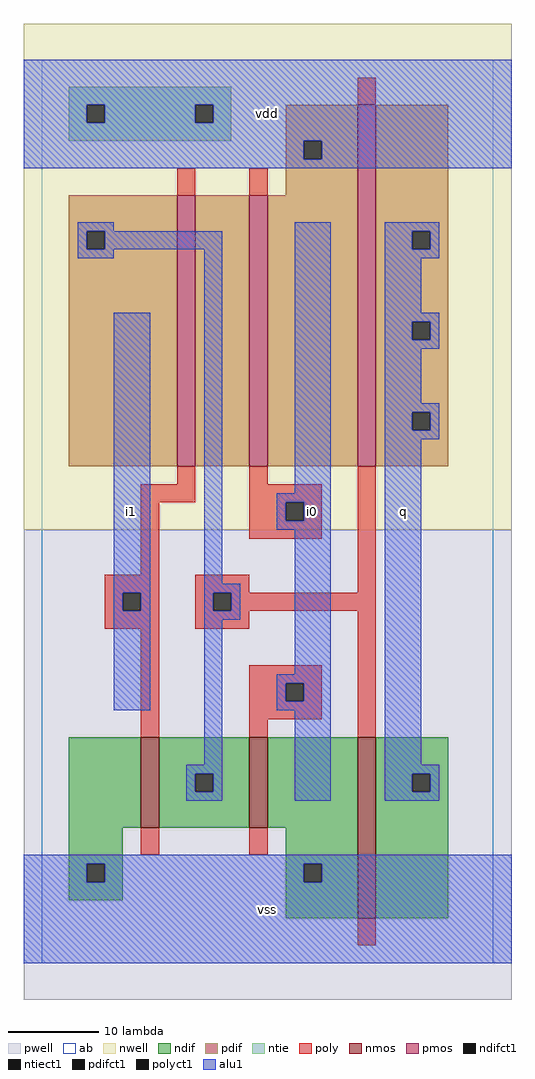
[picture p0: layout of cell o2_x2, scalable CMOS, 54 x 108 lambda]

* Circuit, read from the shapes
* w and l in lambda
.subckt o2_x2 i0 i1 q vdd vss
M1 n1 i1 vss VSUBS nfet w=10 l=2
M2 vss i0 n1 VSUBS nfet w=10 l=2
M3 q n1 vss VSUBS nfet w=20 l=2
M4 n2 i1 n1 vdd pfet w=30 l=2
M5 vdd i0 n2 vdd pfet w=30 l=2
M6 q n1 vdd vdd pfet w=40 l=2
.ends

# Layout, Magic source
magic
tech scmos
<< ab >>
rect 0 0 50 100
<< nwell >>
rect -2 48 52 104
<< pwell >>
rect -2 -4 52 48
<< poly >>
rect 35 95 37 98
rect 15 85 17 88
rect 23 85 25 88
rect 15 53 17 55
rect 11 51 17 53
rect 23 53 25 55
rect 23 51 31 53
rect 11 43 13 51
rect 23 49 27 51
rect 29 49 31 51
rect 23 47 31 49
rect 7 41 13 43
rect 7 39 9 41
rect 11 39 13 41
rect 7 37 13 39
rect 17 41 23 43
rect 35 41 37 55
rect 17 39 19 41
rect 21 39 37 41
rect 17 37 23 39
rect 11 25 13 37
rect 23 31 31 33
rect 23 29 27 31
rect 29 29 31 31
rect 23 27 31 29
rect 23 25 25 27
rect 35 25 37 39
rect 11 12 13 15
rect 23 12 25 15
rect 35 2 37 5
<< ndif >>
rect 3 15 11 25
rect 13 21 23 25
rect 13 19 17 21
rect 19 19 23 21
rect 13 15 23 19
rect 25 15 35 25
rect 3 11 9 15
rect 3 9 5 11
rect 7 9 9 11
rect 3 7 9 9
rect 27 11 35 15
rect 27 9 29 11
rect 31 9 35 11
rect 27 5 35 9
rect 37 21 45 25
rect 37 19 41 21
rect 43 19 45 21
rect 37 5 45 19
<< pdif >>
rect 27 91 35 95
rect 27 89 29 91
rect 31 89 35 91
rect 27 85 35 89
rect 3 81 15 85
rect 3 79 5 81
rect 7 79 15 81
rect 3 55 15 79
rect 17 55 23 85
rect 25 55 35 85
rect 37 81 45 95
rect 37 79 41 81
rect 43 79 45 81
rect 37 71 45 79
rect 37 69 41 71
rect 43 69 45 71
rect 37 61 45 69
rect 37 59 41 61
rect 43 59 45 61
rect 37 55 45 59
<< alu1 >>
rect -2 95 52 100
rect -2 93 5 95
rect 7 93 17 95
rect 19 93 52 95
rect -2 91 52 93
rect -2 89 29 91
rect 31 89 52 91
rect -2 88 52 89
rect 4 81 8 82
rect 4 79 5 81
rect 7 79 20 81
rect 4 78 8 79
rect 8 41 12 72
rect 8 39 9 41
rect 11 39 12 41
rect 8 28 12 39
rect 18 42 20 79
rect 28 52 32 82
rect 26 51 32 52
rect 26 49 27 51
rect 29 49 32 51
rect 26 48 32 49
rect 18 41 22 42
rect 18 39 19 41
rect 21 39 22 41
rect 18 38 22 39
rect 18 22 20 38
rect 28 32 32 48
rect 26 31 32 32
rect 26 29 27 31
rect 29 29 32 31
rect 26 28 32 29
rect 16 21 20 22
rect 16 19 17 21
rect 19 19 20 21
rect 16 18 20 19
rect 28 18 32 28
rect 38 81 44 82
rect 38 79 41 81
rect 43 79 44 81
rect 38 78 44 79
rect 38 72 42 78
rect 38 71 44 72
rect 38 69 41 71
rect 43 69 44 71
rect 38 68 44 69
rect 38 62 42 68
rect 38 61 44 62
rect 38 59 41 61
rect 43 59 44 61
rect 38 58 44 59
rect 38 22 42 58
rect 38 21 44 22
rect 38 19 41 21
rect 43 19 44 21
rect 38 18 44 19
rect -2 11 52 12
rect -2 9 5 11
rect 7 9 29 11
rect 31 9 52 11
rect -2 0 52 9
<< ntie >>
rect 3 95 21 97
rect 3 93 5 95
rect 7 93 17 95
rect 19 93 21 95
rect 3 91 21 93
<< nmos >>
rect 11 15 13 25
rect 23 15 25 25
rect 35 5 37 25
<< pmos >>
rect 15 55 17 85
rect 23 55 25 85
rect 35 55 37 95
<< polyct1 >>
rect 27 49 29 51
rect 9 39 11 41
rect 19 39 21 41
rect 27 29 29 31
<< ndifct1 >>
rect 17 19 19 21
rect 5 9 7 11
rect 29 9 31 11
rect 41 19 43 21
<< ntiect1 >>
rect 5 93 7 95
rect 17 93 19 95
<< pdifct1 >>
rect 29 89 31 91
rect 5 79 7 81
rect 41 79 43 81
rect 41 69 43 71
rect 41 59 43 61
<< labels >>
rlabel alu1 10 50 10 50 6 i1
rlabel alu1 25 6 25 6 6 vss
rlabel alu1 30 50 30 50 6 i0
rlabel alu1 25 94 25 94 6 vdd
rlabel alu1 40 50 40 50 6 q
<< end >>
